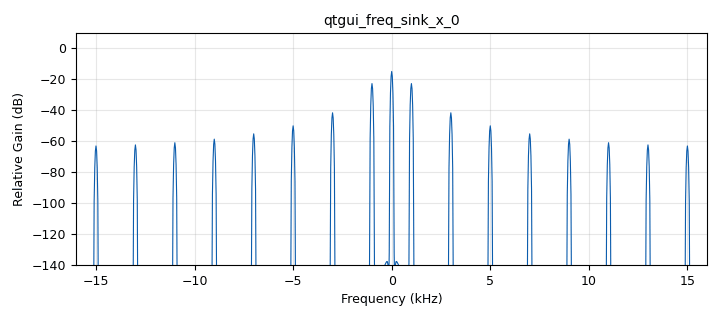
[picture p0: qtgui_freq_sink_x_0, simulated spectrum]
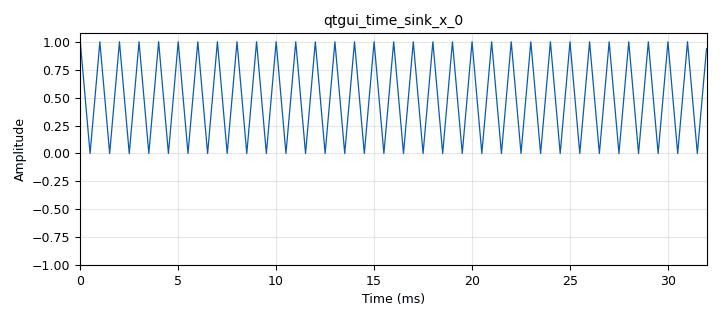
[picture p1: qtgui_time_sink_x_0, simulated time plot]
options:
  parameters:
    author: Miguel Garcia
    generate_options: qt_gui
    id: evidencia
    output_language: python
    title: evidencia
  states: {}

blocks:
- name: A
  id: variable_qtgui_range
  parameters:
    start: '0'
    step: '1'
    stop: '12'
    value: '1'
  states: {}
- name: samp_rate
  id: variable
  parameters:
    value: '32000'
  states: {}
- name: samp_rate_0
  id: variable
  parameters:
    value: '32000'
  states: {}
- name: CalculoPotenciacomunicaciones_0
  id: CalculoPotenciacomunicaciones
  parameters:
    l_vect: '1024'
  states: {}
- name: analog_sig_source_x_0
  id: analog_sig_source_x
  parameters:
    amp: A
    freq: '1000'
    offset: '0'
    phase: '0'
    samp_rate: samp_rate
    type: float
    waveform: analog.GR_TRI_WAVE
  states: {}
- name: qtgui_freq_sink_x_0
  id: qtgui_freq_sink_x
  parameters:
    bw: samp_rate
    fc: '0'
    fftsize: '1024'
    type: float
  states: {}
- name: qtgui_time_sink_x_0
  id: qtgui_time_sink_x
  parameters:
    size: '1024'
    srate: samp_rate
    type: float
  states: {}

connections:
- [analog_sig_source_x_0, '0', CalculoPotenciacomunicaciones_0, '0']
- [analog_sig_source_x_0, '0', qtgui_freq_sink_x_0, '0']
- [analog_sig_source_x_0, '0', qtgui_time_sink_x_0, '0']

metadata:
  file_format: 1
